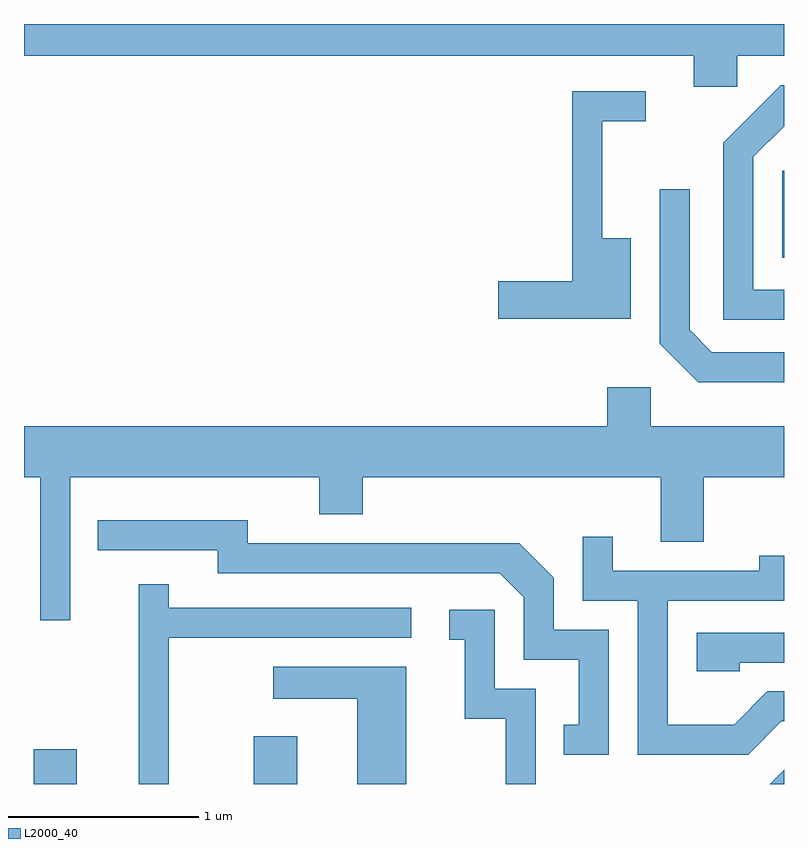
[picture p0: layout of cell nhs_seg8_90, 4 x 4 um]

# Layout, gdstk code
import gdstk
lib = gdstk.Library(unit=1e-6, precision=1e-09)
def R(c, l, rs):  # rectangles x0, y0, x1, y1
    for r in rs: c.add(gdstk.rectangle(r[:2], r[2:], *l))
def P(c, l, *ps):  # polygons
    for p in ps: c.add(gdstk.Polygon(p, *l))
L2000_40 = (2000, 40)

nhs_seg8_90 = lib.new_cell('nhs_seg8_90')
R(nhs_seg8_90, L2000_40, [(187.661,1850.342,187.889,1850.524), (188.821,1850.342,189.049,1850.594), (191.601,1853.111,191.611,1853.569)])
P(nhs_seg8_90, L2000_40, [(191.364,1854.176),(191.611,1854.176),(191.611,1854.342),(187.611,1854.342),(187.611,1854.176),(191.136,1854.176),(191.136,1854.011),(191.364,1854.011)],
  [(191.611,1852.944),(191.449,1852.944),(191.449,1853.644),(191.611,1853.805),(191.611,1854.019),(191.594,1854.019),(191.291,1853.717),(191.291,1852.786),(191.611,1852.786)],
  [(190.804,1853.214),(190.654,1853.214),(190.654,1853.831),(190.883,1853.831),(190.883,1853.989),(190.496,1853.989),(190.496,1852.989),(190.106,1852.989),(190.106,1852.791),(190.804,1852.791)],
  [(191.611,1852.614),(191.232,1852.614),(191.114,1852.732),(191.114,1853.473),(190.956,1853.473),(190.956,1852.659),(191.159,1852.456),(191.611,1852.456)],
  [(187.854,1851.956),(189.166,1851.956),(189.166,1851.761),(189.394,1851.761),(189.394,1851.956),(190.961,1851.956),(190.961,1851.616),(191.189,1851.616),(191.189,1851.956),(191.611,1851.956),(191.611,1852.224),(190.909,1852.224),(190.909,1852.429),(190.681,1852.429),(190.681,1852.224),(187.611,1852.224),(187.611,1851.956),(187.696,1851.956),(187.696,1851.203),(187.854,1851.203)],
  [(190.689,1851.154),(190.399,1851.154),(190.399,1851.427),(190.217,1851.609),(188.789,1851.609),(188.789,1851.729),(187.998,1851.729),(187.998,1851.571),(188.631,1851.571),(188.631,1851.451),(190.114,1851.451),(190.241,1851.324),(190.241,1850.996),(190.531,1850.996),(190.531,1850.654),(190.453,1850.654),(190.453,1850.496),(190.689,1850.496)],
  [(191.597,1850.671),(191.611,1850.671),(191.611,1850.829),(191.524,1850.829),(191.349,1850.654),(190.999,1850.654),(190.999,1851.306),(191.611,1851.306),(191.611,1851.543),(191.481,1851.543),(191.481,1851.464),(190.709,1851.464),(190.709,1851.643),(190.551,1851.643),(190.551,1851.306),(190.841,1851.306),(190.841,1850.496),(191.422,1850.496)],
  [(188.374,1851.111),(189.648,1851.111),(189.648,1851.269),(188.374,1851.269),(188.374,1851.393),(188.216,1851.393),(188.216,1850.342),(188.374,1850.342)],
  [(190.304,1850.844),(190.089,1850.844),(190.089,1851.259),(189.848,1851.259),(189.848,1851.101),(189.931,1851.101),(189.931,1850.686),(190.146,1850.686),(190.146,1850.342),(190.304,1850.342)],
  [(191.379,1850.981),(191.611,1850.981),(191.611,1851.139),(191.151,1851.139),(191.151,1850.936),(191.379,1850.936)],
  [(189.624,1850.959),(188.923,1850.959),(188.923,1850.791),(189.366,1850.791),(189.366,1850.342),(189.624,1850.342)],
  [(191.611,1850.416),(191.537,1850.342),(191.611,1850.342)])

lib.write_gds('nhs_seg8_90.gds')
